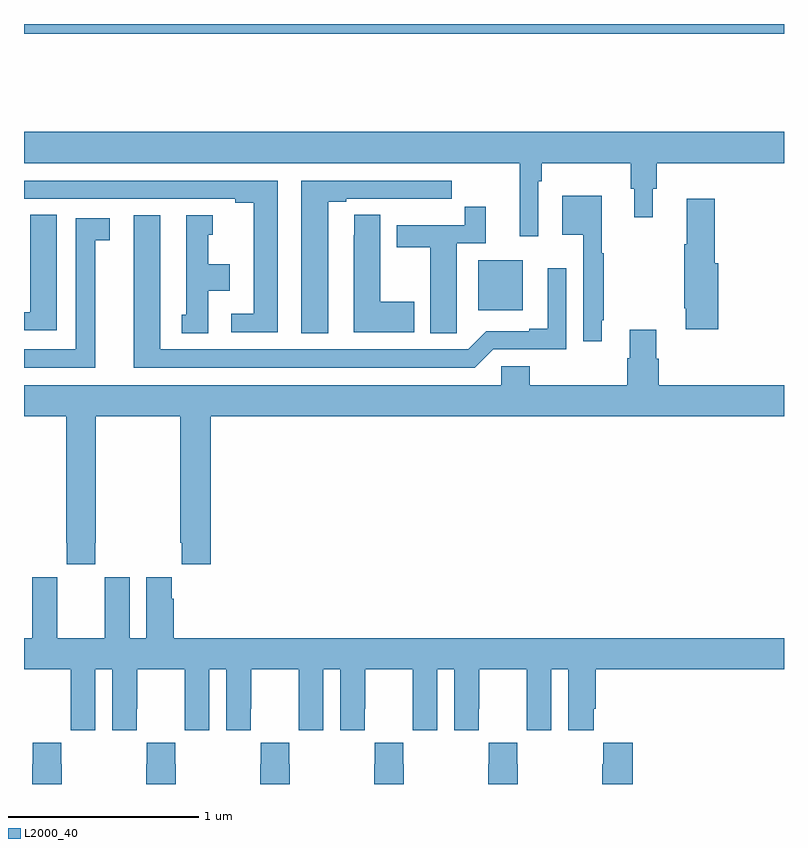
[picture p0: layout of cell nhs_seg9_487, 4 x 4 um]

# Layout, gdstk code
import gdstk
lib = gdstk.Library(unit=1e-6, precision=1e-09)
def R(c, l, rs):  # rectangles x0, y0, x1, y1
    for r in rs: c.add(gdstk.rectangle(r[:2], r[2:], *l))
def P(c, l, *ps):  # polygons
    for p in ps: c.add(gdstk.Polygon(p, *l))
L2000_40 = (2000, 40)

nhs_seg9_487 = lib.new_cell('nhs_seg9_487')
R(nhs_seg9_487, L2000_40, [(137.39,1180.994,137.626,1181.257), (135,1182.448,139,1182.5)])
P(nhs_seg9_487, L2000_40, [(137.706,1181.672),(137.726,1181.672),(137.726,1181.768),(138.193,1181.768),(138.193,1181.634),(138.212,1181.634),(138.212,1181.484),(138.31,1181.484),(138.31,1181.634),(138.329,1181.634),(138.329,1181.768),(139,1181.768),(139,1181.932),(135,1181.932),(135,1181.768),(137.609,1181.768),(137.609,1181.382),(137.706,1181.382)],
  [(136.336,1181.676),(135,1181.676),(135,1181.58),(136.112,1181.58),(136.112,1181.56),(136.208,1181.56),(136.208,1180.974),(136.092,1180.974),(136.092,1180.878),(136.336,1180.878)],
  [(136.6,1181.565),(136.696,1181.565),(136.696,1181.58),(136.972,1181.58),(136.972,1181.579),(137.138,1181.579),(137.138,1181.58),(137.251,1181.58),(137.251,1181.676),(136.46,1181.676),(136.46,1180.873),(136.6,1180.873)],
  [(138.04,1180.942),(138.052,1180.942),(138.052,1181.294),(138.04,1181.294),(138.04,1181.596),(137.834,1181.596),(137.834,1181.39),(137.943,1181.39),(137.943,1180.83),(138.04,1180.83)],
  [(138.653,1181.241),(138.635,1181.241),(138.635,1181.581),(138.488,1181.581),(138.488,1181.341),(138.475,1181.341),(138.475,1181.005),(138.482,1181.005),(138.482,1180.893),(138.653,1180.893)],
  [(137.277,1180.984),(137.278,1180.984),(137.278,1181.346),(137.429,1181.346),(137.429,1181.539),(137.32,1181.539),(137.32,1181.442),(136.961,1181.442),(136.961,1181.326),(137.138,1181.326),(137.138,1180.873),(137.277,1180.873)],
  [(137.053,1181.037),(136.876,1181.037),(136.876,1181.495),(136.737,1181.495),(136.737,1181.387),(136.736,1181.387),(136.736,1180.877),(137.053,1180.877)],
  [(135.172,1181.495),(135.033,1181.495),(135.033,1181.387),(135.032,1181.387),(135.032,1180.984),(135,1180.984),(135,1180.887),(135.172,1180.887)],
  [(135.97,1181.096),(136.084,1181.096),(136.084,1181.236),(135.97,1181.236),(135.97,1181.391),(135.994,1181.391),(135.994,1181.494),(135.854,1181.494),(135.854,1180.971),(135.83,1180.971),(135.83,1180.873),(135.97,1180.873)],
  [(137.469,1180.788),(137.853,1180.788),(137.853,1181.215),(137.756,1181.215),(137.756,1180.897),(137.66,1180.897),(137.66,1180.884),(137.433,1180.884),(137.337,1180.788),(135.718,1180.788),(135.718,1181.494),(135.578,1181.494),(135.578,1180.692),(137.373,1180.692)],
  [(135.376,1181.362),(135.451,1181.362),(135.451,1181.478),(135.272,1181.478),(135.272,1180.788),(135,1180.788),(135,1180.692),(135.376,1180.692)],
  [(135.375,1179.769),(135.378,1179.769),(135.378,1180.436),(135.823,1180.436),(135.823,1179.769),(135.829,1179.769),(135.829,1179.657),(135.983,1179.657),(135.983,1180.436),(139,1180.436),(139,1180.6),(138.341,1180.6),(138.341,1180.737),(138.328,1180.737),(138.328,1180.891),(138.188,1180.891),(138.188,1180.742),(138.176,1180.742),(138.176,1180.6),(137.663,1180.6),(137.663,1180.698),(137.511,1180.698),(137.511,1180.6),(135,1180.6),(135,1180.436),(135.223,1180.436),(135.223,1179.769),(135.225,1179.769),(135.225,1179.657),(135.375,1179.657)],
  [(135.788,1179.476),(135.778,1179.476),(135.778,1179.589),(135.644,1179.589),(135.644,1179.268),(135.556,1179.268),(135.556,1179.589),(135.426,1179.589),(135.426,1179.476),(135.425,1179.476),(135.425,1179.268),(135.175,1179.268),(135.175,1179.476),(135.174,1179.476),(135.174,1179.589),(135.044,1179.589),(135.044,1179.268),(135,1179.268),(135,1179.104),(135.245,1179.104),(135.245,1178.896),(135.246,1178.896),(135.246,1178.784),(135.376,1178.784),(135.376,1179.104),(135.464,1179.104),(135.464,1178.784),(135.594,1178.784),(135.594,1178.896),(135.595,1178.896),(135.595,1179.104),(135.845,1179.104),(135.845,1178.896),(135.846,1178.896),(135.846,1178.784),(135.976,1178.784),(135.976,1179.104),(136.064,1179.104),(136.064,1178.784),(136.194,1178.784),(136.194,1178.896),(136.195,1178.896),(136.195,1179.104),(136.445,1179.104),(136.445,1178.896),(136.446,1178.896),(136.446,1178.784),(136.576,1178.784),(136.576,1179.104),(136.664,1179.104),(136.664,1178.784),(136.794,1178.784),(136.794,1178.896),(136.795,1178.896),(136.795,1179.104),(137.045,1179.104),(137.045,1178.896),(137.046,1178.896),(137.046,1178.784),(137.176,1178.784),(137.176,1179.104),(137.264,1179.104),(137.264,1178.784),(137.394,1178.784),(137.394,1178.896),(137.395,1178.896),(137.395,1179.104),(137.645,1179.104),(137.645,1178.896),(137.646,1178.896),(137.646,1178.784),(137.776,1178.784),(137.776,1179.104),(137.864,1179.104),(137.864,1178.784),(137.998,1178.784),(137.998,1178.896),(138.008,1178.896),(138.008,1179.104),(139,1179.104),(139,1179.268),(135.788,1179.268)],
  [(135.198,1178.603),(135.195,1178.603),(135.195,1178.716),(135.045,1178.716),(135.045,1178.603),(135.043,1178.603),(135.043,1178.5),(135.198,1178.5)],
  [(135.798,1178.603),(135.795,1178.603),(135.795,1178.716),(135.645,1178.716),(135.645,1178.603),(135.643,1178.603),(135.643,1178.5),(135.798,1178.5)],
  [(136.998,1178.603),(136.995,1178.603),(136.995,1178.716),(136.845,1178.716),(136.845,1178.603),(136.843,1178.603),(136.843,1178.5),(136.998,1178.5)],
  [(138.203,1178.716),(138.049,1178.716),(138.049,1178.603),(138.043,1178.603),(138.043,1178.5),(138.203,1178.5)],
  [(137.598,1178.603),(137.595,1178.603),(137.595,1178.716),(137.445,1178.716),(137.445,1178.603),(137.443,1178.603),(137.443,1178.5),(137.598,1178.5)],
  [(136.398,1178.603),(136.395,1178.603),(136.395,1178.716),(136.245,1178.716),(136.245,1178.603),(136.243,1178.603),(136.243,1178.5),(136.398,1178.5)])

lib.write_gds('nhs_seg9_487.gds')
